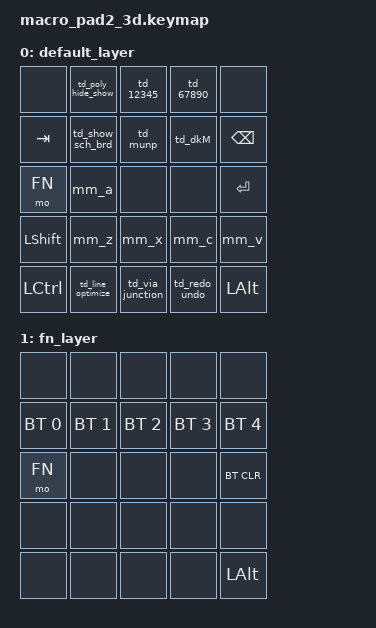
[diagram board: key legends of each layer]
/*
 * Copyright (c) 2024 The ZMK Contributors
 *
 * SPDX-License-Identifier: MIT
 */

#include <behaviors.dtsi>
#include <dt-bindings/zmk/keys.h>
#include <dt-bindings/zmk/bt.h>
#include <dt-bindings/zmk/led_indicators.h>

#define DEFAULT   0
#define FN        1

&mt {
    tapping-term-ms = <400>;
};

/ {
    behaviors {
        td_redo_undo: tap_dance_redo_undo {
            compatible = "zmk,behavior-tap-dance";
            #binding-cells = <0>;
            tapping-term-ms = <300>;
            bindings = <&kp LC(Y)>,<&kp LC(Z)>;
        };

        td_via_junction: tap_dance_via_junction {
            compatible = "zmk,behavior-tap-dance";
            #binding-cells = <0>;
            tapping-term-ms = <300>;
            bindings = <&kp LA(V)>, <&kp LC(J)>;
        };

        td_name_value: tap_dance_name_value {
            compatible = "zmk,behavior-tap-dance";
            #binding-cells = <0>;
            tapping-term-ms = <300>;
            bindings = <&kp N>,<&kp V>;
        };

        td_move_split: tap_dance_move_split {
            compatible = "zmk,behavior-tap-dance";
            #binding-cells = <0>;
            tapping-term-ms = <300>;
            bindings = <&kp M>,<&kp L>;
        };

        td_show_sch_brd: tap_dance_show_sch_brd {
            compatible = "zmk,behavior-tap-dance";
            #binding-cells = <0>;
            tapping-term-ms = <300>;
            bindings = <&kp W>,<&kp LC(N1)>,<&kp LC(N2)>;
        };

        td_poly_hide_show: tap_dance_poly_hidefill_showfill {
            compatible = "zmk,behavior-tap-dance";
            #binding-cells = <0>;
            tapping-term-ms = <300>;
            bindings = <&kp LC(LS(P))>,<&kp LC(LS(O))>,<&kp LC(LS(I))>;
        };

        td_singlelayer_flipboard: tap_dance_singlelayer_flipboard {
            compatible = "zmk,behavior-tap-dance";
            #binding-cells = <0>;
            tapping-term-ms = <300>;
            bindings = <&kp LC(T)>,<&kp LC(LS(LA(F)))>;
        };

        td_line_optimize: tap_dance_line_optimize {
            compatible = "zmk,behavior-tap-dance";
            #binding-cells = <0>;
            tapping-term-ms = <300>;
            bindings = <&kp LC(L)>,<&kp LC(LS(LA(O)))>;
        };

        td_net_unroute_del: tap_dance_net_unroute_del {
            compatible = "zmk,behavior-tap-dance";
            #binding-cells = <0>;
            tapping-term-ms = <300>;
            bindings = <&kp R>,<&kp LC(LS(LA(R)))>,<&kp LC(LS(D))>;
        };

        td_12345: tap_dance_12345 {
            compatible = "zmk,behavior-tap-dance";
            #binding-cells = <0>;
            tapping-term-ms = <300>;
            bindings = <&kp N1>,<&kp N2>,<&kp N3>,<&kp N4>,<&kp N5>;
        };

        td_67890: tap_dance_67890 {
            compatible = "zmk,behavior-tap-dance";
            #binding-cells = <0>;
            tapping-term-ms = <300>;
            bindings = <&kp N6>,<&kp N7>,<&kp N8>,<&kp N9>,<&kp N0>;
        };

        td_munp: tap_dance_munp {
            compatible = "zmk,behavior-tap-dance";
            #binding-cells = <0>;
            tapping-term-ms = <300>;
            bindings = <&kp M>,<&kp U>,<&kp N>,<&kp P>;
        };

        td_dkM: tap_dance_dkM {
            compatible = "zmk,behavior-tap-dance";
            #binding-cells = <0>;
            tapping-term-ms = <300>;
            bindings = <&kp DOT>,<&kp K>,<&kp LS(M)>;
        };

        mm_a: mm_a {
            compatible = "zmk,behavior-mod-morph";
            #binding-cells = <0>;
            bindings = <&td_singlelayer_flipboard>, <&kp A>;
            mods = <(MOD_LCTL)>;
            keep-mods = <(MOD_LCTL)>;
        };
        mm_z: mm_z {
            compatible = "zmk,behavior-mod-morph";
            #binding-cells = <0>;
            bindings = <&kp ESC>, <&kp Z>;
            mods = <(MOD_LCTL)>;
            keep-mods = <(MOD_LCTL)>;
        };
        mm_x: mm_x {
            compatible = "zmk,behavior-mod-morph";
            #binding-cells = <0>;
            bindings = <&td_move_split>, <&kp X>;
            mods = <(MOD_LCTL)>;
            keep-mods = <(MOD_LCTL)>;
        };
        mm_c: mm_c {
            compatible = "zmk,behavior-mod-morph";
            #binding-cells = <0>;
            bindings = <&td_net_unroute_del>, <&kp C>;
            mods = <(MOD_LCTL)>;
            keep-mods = <(MOD_LCTL)>;
        };
        mm_v: mm_v {
            compatible = "zmk,behavior-mod-morph";
            #binding-cells = <0>;
            bindings = <&td_name_value>, <&kp V>;
            mods = <(MOD_LCTL)>;
            keep-mods = <(MOD_LCTL)>;
        };
    };

    keymap {
        compatible = "zmk,keymap";

        default_layer {
            bindings = <
                &none      &td_poly_hide_show  &td_12345           &td_67890    &none 
            &kp TAB     &td_show_sch_brd    &td_munp            &td_dkM             &kp BSPC
            &mo FN      &mm_a               &none      &none      &kp RET
            &kp LSHFT   &mm_z               &mm_x               &mm_c               &mm_v
            &kp LCTRL   &td_line_optimize   &td_via_junction    &td_redo_undo       &kp LALT
            >;
        };

        fn_layer {
            bindings = <
                     &none        &none           &none               &none       &none 
            &bt BT_SEL 0    &bt BT_SEL 1    &bt BT_SEL 2        &bt BT_SEL 3        &bt BT_SEL 4
            &mo FN          &none           &none               &none               &bt BT_CLR
            &none           &none           &none               &none               &none
            &none           &none           &none               &none               &kp LALT
            >;
        };
    };
};
